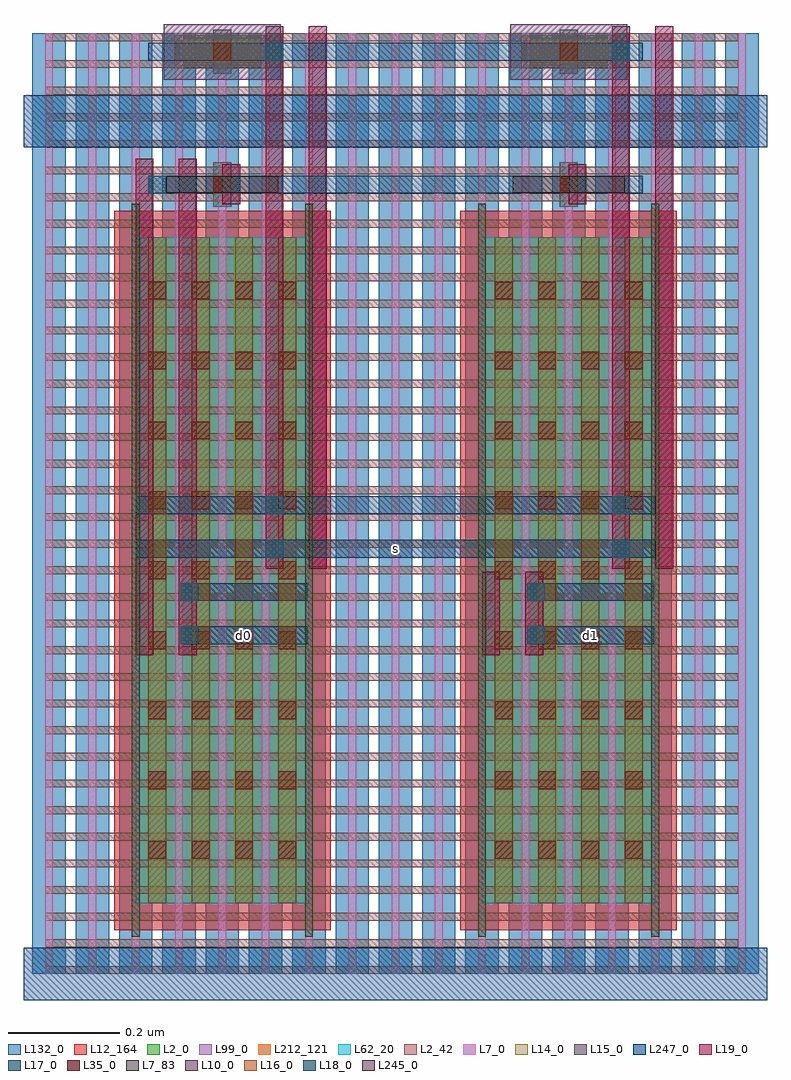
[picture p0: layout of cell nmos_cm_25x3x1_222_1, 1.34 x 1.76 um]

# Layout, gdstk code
import gdstk
lib = gdstk.Library(unit=1e-6, precision=1e-12)
def R(c, l, rs):  # rectangles x0, y0, x1, y1
    for r in rs: c.add(gdstk.rectangle(r[:2], r[2:], *l))
def A(c, l, x, y, w, h, nx, ny, dx, dy):  # array of equal rectangles
    R(c, l, [(x+i*dx, y+j*dy, x+i*dx+w, y+j*dy+h) for i in range(nx) for j in range(ny)])
L2_0 = (2, 0)
L2_42 = (2, 42)
L7_0 = (7, 0)
L7_83 = (7, 83)
L10_0 = (10, 0)
L12_164 = (12, 164)
L14_0 = (14, 0)
L15_0 = (15, 0)
L16_0 = (16, 0)
L17_0 = (17, 0)
L18_0 = (18, 0)
L19_0 = (19, 0)
L35_0 = (35, 0)
L62_20 = (62, 20)
L99_0 = (99, 0)
L132_0 = (132, 0)
L212_121 = (212, 121)
L245_0 = (245, 0)
L247_0 = (247, 0)

nmos_cm_25x3x1_222_1 = lib.new_cell('nmos_cm_25x3x1_222_1')
R(nmos_cm_25x3x1_222_1, L2_0, [(0.186,0.127,0.498,1.327), (0.81,0.127,1.122,1.327), (0.2567,1.631,0.4273,1.691), (0.8807,1.631,1.0513,1.691)])
A(nmos_cm_25x3x1_222_1, L2_42, 0.023, 0, 1.248, 0.014, 1, 36, 0, 0.048)
A(nmos_cm_25x3x1_222_1, L7_0, 0.023, 0, 0.014, 1.694, 17, 1, 0.078, 0)
A(nmos_cm_25x3x1_222_1, L7_83, 0.179, 0.067, 0.014, 1.32, 4, 1, 0.312, 0)
R(nmos_cm_25x3x1_222_1, L10_0, [(0.2367,1.611,0.4473,1.711), (0.8607,1.611,1.0713,1.711)])
R(nmos_cm_25x3x1_222_1, L12_164, [(0.147,0.079,0.537,1.375), (0.771,0.079,1.161,1.375)])
A(nmos_cm_25x3x1_222_1, L14_0, 0.208, 0.127, 0.034, 1.2, 4, 1, 0.078, 0)
A(nmos_cm_25x3x1_222_1, L14_0, 0.832, 0.127, 0.034, 1.2, 4, 1, 0.078, 0)
R(nmos_cm_25x3x1_222_1, L14_0, [(0.2717,1.641,0.4123,1.681), (0.8957,1.641,1.0363,1.681)])
A(nmos_cm_25x3x1_222_1, L15_0, 0.209, 0.127, 0.032, 1.2, 4, 1, 0.078, 0)
A(nmos_cm_25x3x1_222_1, L15_0, 0.833, 0.127, 0.032, 1.2, 4, 1, 0.078, 0)
R(nmos_cm_25x3x1_222_1, L15_0, [(0.326,1.382,0.358,1.462), (0.95,1.382,0.982,1.462), (0.326,1.621,0.358,1.701), (0.95,1.621,0.982,1.701)])
R(nmos_cm_25x3x1_222_1, L16_0, [(0.287,0.594,0.319,0.626), (0.443,0.594,0.475,0.626), (0.911,0.594,0.943,0.626), (1.067,0.594,1.099,0.626), (0.287,0.672,0.319,0.704), (0.443,0.672,0.475,0.704), (0.911,0.672,0.943,0.704), (1.067,0.672,1.099,0.704), (0.209,0.75,0.241,0.782), (0.365,0.75,0.397,0.782), (0.833,0.75,0.865,0.782), (0.989,0.75,1.021,0.782), (0.209,0.828,0.241,0.86), (0.365,0.828,0.397,0.86), (0.833,0.828,0.865,0.86), (0.989,0.828,1.021,0.86), (0.326,1.406,0.358,1.438), (0.95,1.406,0.982,1.438), (0.326,1.645,0.358,1.677), (0.95,1.645,0.982,1.677)])
R(nmos_cm_25x3x1_222_1, L17_0, [(0.267,0.594,0.495,0.626), (0.891,0.594,1.119,0.626), (0.267,0.672,0.495,0.704), (0.891,0.672,1.119,0.704), (0.186,0.75,0.498,0.782), (0.488,0.75,0.82,0.782), (0.81,0.75,1.122,0.782), (0.186,0.828,0.498,0.86), (0.488,0.828,0.82,0.86), (0.81,0.828,1.122,0.86), (0.209,1.406,0.475,1.438), (0.465,1.406,0.843,1.438), (0.833,1.406,1.099,1.438), (0.209,1.645,0.475,1.677), (0.465,1.645,0.843,1.677), (0.833,1.645,1.099,1.677)])
R(nmos_cm_25x3x1_222_1, L18_0, [(0.267,0.594,0.299,0.626), (0.891,0.594,0.923,0.626), (0.267,0.672,0.299,0.704), (0.891,0.672,0.923,0.704), (0.42,0.75,0.452,0.782), (1.044,0.75,1.076,0.782), (0.42,0.828,0.452,0.86), (1.044,0.828,1.076,0.86), (0.209,1.406,0.241,1.438), (0.264,1.406,0.296,1.438), (0.342,1.406,0.374,1.438), (0.966,1.406,0.998,1.438), (0.42,1.645,0.452,1.677), (1.044,1.645,1.076,1.677)])
R(nmos_cm_25x3x1_222_1, L19_0, [(0.186,0.574,0.218,0.724), (0.264,0.574,0.296,0.724), (0.81,0.574,0.842,0.724), (0.888,0.574,0.92,0.724), (0.186,0.714,0.218,1.468), (0.264,0.714,0.296,1.468), (0.42,0.73,0.452,0.88), (0.498,0.73,0.53,0.88), (1.044,0.73,1.076,0.88), (1.122,0.73,1.154,0.88), (0.42,0.87,0.452,1.707), (0.498,0.87,0.53,1.707), (1.044,0.87,1.076,1.707), (1.122,0.87,1.154,1.707), (0.342,1.386,0.374,1.458), (0.966,1.386,0.998,1.458)])
A(nmos_cm_25x3x1_222_1, L35_0, 0.209, 0.207, 0.032, 0.032, 4, 9, 0.078, 0.126)
A(nmos_cm_25x3x1_222_1, L35_0, 0.833, 0.207, 0.032, 0.032, 4, 9, 0.078, 0.126)
R(nmos_cm_25x3x1_222_1, L35_0, [(0.326,1.406,0.358,1.438), (0.95,1.406,0.982,1.438), (0.326,1.645,0.358,1.677), (0.95,1.645,0.982,1.677)])
R(nmos_cm_25x3x1_222_1, L62_20, [(0.186,0.127,0.498,1.327), (0.81,0.127,1.122,1.327)])
R(nmos_cm_25x3x1_222_1, L99_0, [(0.186,0.127,0.498,1.327), (0.81,0.127,1.122,1.327), (0.2667,1.636,0.4173,1.686), (0.8907,1.636,1.0413,1.686)])
A(nmos_cm_25x3x1_222_1, L132_0, 0, 0, 0.06, 1.694, 17, 1, 0.078, 0)
R(nmos_cm_25x3x1_222_1, L212_121, [(0.186,0.127,0.498,1.327), (0.81,0.127,1.122,1.327)])
R(nmos_cm_25x3x1_222_1, L245_0, [(0.241,1.407,0.443,1.437), (0.865,1.407,1.067,1.437)])
R(nmos_cm_25x3x1_222_1, L247_0, [(-0.016,-0.047,0.7,0.047), (0.608,-0.047,1.324,0.047), (-0.016,1.489,0.7,1.583), (0.608,1.489,1.324,1.583)])
nmos_cm_25x3x1_222_1.add(gdstk.Label('s', (0.654,0.766), layer=16, texttype=20))
nmos_cm_25x3x1_222_1.add(gdstk.Label('d1', (1.005,0.61), layer=16, texttype=20))
nmos_cm_25x3x1_222_1.add(gdstk.Label('d0', (0.381,0.61), layer=16, texttype=20))

lib.write_gds('nmos_cm_25x3x1_222_1.gds')
